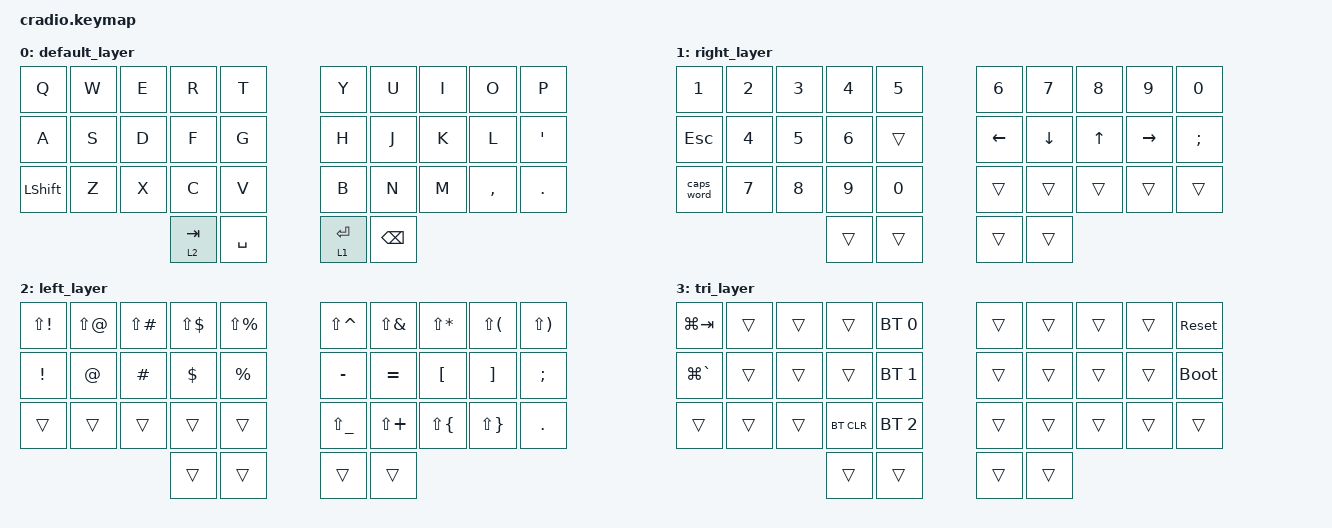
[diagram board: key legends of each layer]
// Copyright (c) 2022 The ZMK Contributors
// SPDX-License-Identifier: MIT

#include <behaviors.dtsi>
#include <dt-bindings/zmk/bt.h>
#include <dt-bindings/zmk/keys.h>

// Home row mods macro

#define HRML(k1,k2,k3,k4) &ht LSHFT k1  &ht LALT k2  &ht LCTRL k3  &ht LGUI k4
#define HRMR(k1,k2,k3,k4) &ht RGUI k1  &ht RCTRL k2  &ht RALT k3  &ht RSHFT k4

/ {
    behaviors {
        ht: hold_tap {
            label = "hold_tap";
            compatible = "zmk,behavior-hold-tap";
            #binding-cells = <2>;
            flavor = "tap-preferred";
            tapping-term-ms = <220>;
            quick-tap-ms = <150>;
            global-quick-tap;
            bindings = <&kp>, <&kp>;
        };
    };

    conditional_layers {
        compatible = "zmk,conditional-layers";

        tri_layer {
            if-layers = <1 2>;
            then-layer = <3>;
        };
    };

    keymap {
        compatible = "zmk,keymap";

        default_layer {
            bindings = <
&kp Q           &kp W  &kp E  &kp R      &kp T        &kp Y      &kp U          &kp I  &kp O      &kp P
&kp A           &kp S  &kp D  &kp F      &kp G        &kp H      &kp J          &kp K  &kp L      &kp SQT
&kp LEFT_SHIFT  &kp Z  &kp X  &kp C      &kp V        &kp B      &kp N          &kp M  &kp COMMA  &kp DOT
                              &lt 2 TAB  &kp SPACE    &lt 1 RET  &kp BACKSPACE
            >;
        };

        right_layer {
            bindings = <
&kp N1      &kp N2  &kp N3  &kp N4  &kp N5    &kp N6    &kp N7    &kp N8  &kp N9     &kp N0
&kp ESCAPE  &kp N4  &kp N5  &kp N6  &trans    &kp LEFT  &kp DOWN  &kp UP  &kp RIGHT  &kp SEMI
&caps_word  &kp N7  &kp N8  &kp N9  &kp N0    &trans    &trans    &trans  &trans     &trans
                            &trans  &trans    &trans    &trans
            >;
        };

        left_layer {
            bindings = <
&kp LS(EXCL)  &kp LS(AT)  &kp LS(POUND)  &kp LS(DLLR)  &kp LS(PRCNT)    &kp LS(CARET)  &kp LS(AMPS)  &kp LS(STAR)  &kp LS(LPAR)  &kp LS(RPAR)
&kp EXCL      &kp AT      &kp HASH       &kp DLLR      &kp PRCNT        &kp MINUS      &kp EQUAL     &kp LBKT      &kp RBKT      &kp SEMI
&trans        &trans      &trans         &trans        &trans           &kp LS(UNDER)  &kp LS(PLUS)  &kp LS(LBRC)  &kp LS(RBRC)  &kp DOT
                                         &trans        &trans           &trans         &trans
            >;
        };

        tri_layer {
            bindings = <
&kp LG(TAB)    &trans  &trans  &trans      &bt BT_SEL 0    &trans  &trans  &trans  &trans  &sys_reset
&kp LG(GRAVE)  &trans  &trans  &trans      &bt BT_SEL 1    &trans  &trans  &trans  &trans  &bootloader
&trans         &trans  &trans  &bt BT_CLR  &bt BT_SEL 2    &trans  &trans  &trans  &trans  &trans
                               &trans      &trans          &trans  &trans
            >;
        };
    };
};
